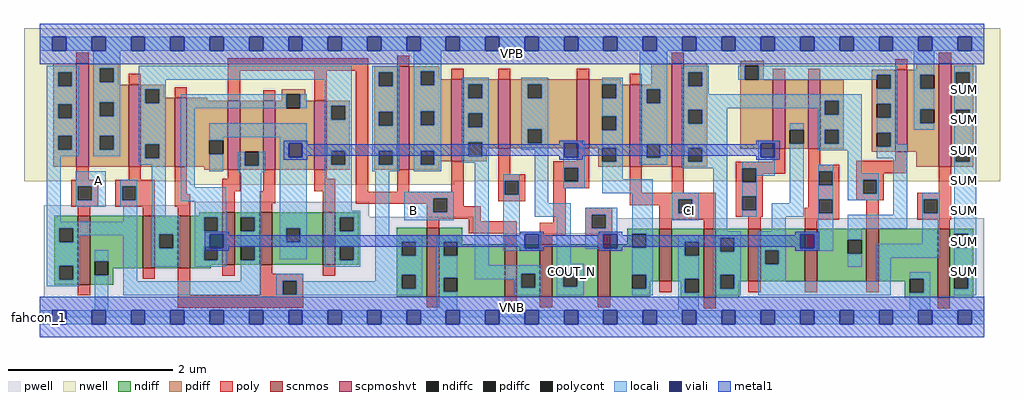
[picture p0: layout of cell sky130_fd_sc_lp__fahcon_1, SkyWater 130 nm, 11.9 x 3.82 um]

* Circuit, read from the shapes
.subckt sky130_fd_sc_lp__fahcon_1 A B CI VGND VNB VPB VPWR COUT_N SUM
XM1 VGND A n1 VNB sky130_fd_pr__nfet_01v8 w=0.84 l=0.15
XM2 n2 n1 VGND VNB sky130_fd_pr__nfet_01v8 w=0.64 l=0.15
XM3 n3 n4 n2 VNB sky130_fd_pr__nfet_01v8 w=0.64 l=0.15
XM4 n1 B n3 VNB sky130_fd_pr__nfet_01v8 w=0.64 l=0.15
XM5 n5 n4 n1 VNB sky130_fd_pr__nfet_01v8 w=0.64 l=0.15
XM6 n2 B n5 VNB sky130_fd_pr__nfet_01v8 w=0.64 l=0.15
XM7 VGND B n4 VNB sky130_fd_pr__nfet_01v8 w=0.84 l=0.15
XM8 n6 B VGND VNB sky130_fd_pr__nfet_01v8 w=0.64 l=0.15
XM9 COUT_N n5 n6 VNB sky130_fd_pr__nfet_01v8 w=0.64 l=0.15
XM10 n7 n3 COUT_N VNB sky130_fd_pr__nfet_01v8 w=0.64 l=0.15
XM11 VGND CI n7 VNB sky130_fd_pr__nfet_01v8 w=0.64 l=0.15
XM12 n8 CI VGND VNB sky130_fd_pr__nfet_01v8 w=0.84 l=0.15
XM13 n9 n5 n8 VNB sky130_fd_pr__nfet_01v8 w=0.64 l=0.15
XM14 n10 n3 n9 VNB sky130_fd_pr__nfet_01v8 w=0.64 l=0.15
XM15 VGND n8 n10 VNB sky130_fd_pr__nfet_01v8 w=0.64 l=0.15
XM16 SUM n9 VGND VNB sky130_fd_pr__nfet_01v8 w=0.84 l=0.15
XM17 VPWR A n1 VPB sky130_fd_pr__pfet_01v8_hvt w=1.26 l=0.15
XM18 n2 n1 VPWR VPB sky130_fd_pr__pfet_01v8_hvt w=1 l=0.15
XM19 n5 n4 n2 VPB sky130_fd_pr__pfet_01v8_hvt w=0.84 l=0.15
XM20 n1 B n5 VPB sky130_fd_pr__pfet_01v8_hvt w=0.84 l=0.15
XM21 n3 n4 n1 VPB sky130_fd_pr__pfet_01v8_hvt w=0.84 l=0.15
XM22 n2 B n3 VPB sky130_fd_pr__pfet_01v8_hvt w=0.84 l=0.15
XM23 VPWR B n4 VPB sky130_fd_pr__pfet_01v8_hvt w=1.26 l=0.15
XM24 n6 B VPWR VPB sky130_fd_pr__pfet_01v8_hvt w=1 l=0.15
XM25 COUT_N n3 n6 VPB sky130_fd_pr__pfet_01v8_hvt w=0.84 l=0.15
XM26 n7 n5 COUT_N VPB sky130_fd_pr__pfet_01v8_hvt w=0.84 l=0.15
XM27 VPWR CI n7 VPB sky130_fd_pr__pfet_01v8_hvt w=1 l=0.15
XM28 n8 CI VPWR VPB sky130_fd_pr__pfet_01v8_hvt w=1.26 l=0.15
XM29 n9 n5 n10 VPB sky130_fd_pr__pfet_01v8_hvt w=0.84 l=0.15
XM30 n8 n3 n9 VPB sky130_fd_pr__pfet_01v8_hvt w=0.84 l=0.15
XM31 VPWR n8 n10 VPB sky130_fd_pr__pfet_01v8_hvt w=1 l=0.15
XM32 SUM n9 VPWR VPB sky130_fd_pr__pfet_01v8_hvt w=1.26 l=0.15
.ends

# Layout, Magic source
magic
tech sky130A
magscale 1 2
<< nwell >>
rect -38 331 2342 704
rect 366 323 1011 331
<< pwell >>
rect 363 273 804 281
rect 10 244 804 273
rect 10 204 1057 244
rect 1407 204 2303 241
rect 10 49 2303 204
rect 0 0 2304 49
<< scnmos >>
rect 93 79 123 247
rect 251 119 281 247
rect 337 119 367 247
rect 446 127 476 255
rect 537 127 567 255
rect 691 127 721 255
rect 944 50 974 218
rect 1134 50 1164 178
rect 1220 50 1250 178
rect 1361 50 1391 178
rect 1511 87 1541 215
rect 1619 47 1649 215
rect 1728 87 1758 215
rect 1866 87 1896 215
rect 2016 87 2046 215
rect 2190 47 2220 215
<< scpmoshvt >>
rect 90 367 120 619
rect 217 367 247 567
rect 329 367 359 535
rect 459 359 489 527
rect 545 359 575 527
rect 670 359 700 527
rect 872 359 902 611
rect 1004 380 1034 580
rect 1118 412 1148 580
rect 1310 412 1340 580
rect 1439 367 1469 567
rect 1541 367 1571 619
rect 1788 411 1818 579
rect 1874 411 1904 579
rect 2086 403 2116 603
rect 2193 367 2223 619
<< ndiff >>
rect 389 247 446 255
rect 36 217 93 247
rect 36 183 48 217
rect 82 183 93 217
rect 36 125 93 183
rect 36 91 48 125
rect 82 91 93 125
rect 36 79 93 91
rect 123 136 251 247
rect 123 102 134 136
rect 168 119 251 136
rect 281 202 337 247
rect 281 168 292 202
rect 326 168 337 202
rect 281 119 337 168
rect 367 243 446 247
rect 367 209 401 243
rect 435 209 446 243
rect 367 173 446 209
rect 367 139 401 173
rect 435 139 446 173
rect 367 127 446 139
rect 476 243 537 255
rect 476 209 491 243
rect 525 209 537 243
rect 476 173 537 209
rect 476 139 491 173
rect 525 139 537 173
rect 476 127 537 139
rect 567 217 691 255
rect 567 183 602 217
rect 636 183 691 217
rect 567 127 691 183
rect 721 243 778 255
rect 721 209 732 243
rect 766 209 778 243
rect 721 173 778 209
rect 721 139 732 173
rect 766 139 778 173
rect 721 127 778 139
rect 871 184 944 218
rect 871 150 883 184
rect 917 150 944 184
rect 367 119 417 127
rect 168 102 180 119
rect 123 79 180 102
rect 871 103 944 150
rect 871 69 883 103
rect 917 69 944 103
rect 871 50 944 69
rect 974 184 1031 218
rect 974 150 985 184
rect 1019 178 1031 184
rect 1433 203 1511 215
rect 1433 178 1445 203
rect 1019 150 1134 178
rect 974 96 1134 150
rect 974 62 985 96
rect 1019 62 1134 96
rect 974 50 1134 62
rect 1164 106 1220 178
rect 1164 72 1175 106
rect 1209 72 1220 106
rect 1164 50 1220 72
rect 1250 108 1361 178
rect 1250 74 1277 108
rect 1311 74 1361 108
rect 1250 50 1361 74
rect 1391 169 1445 178
rect 1479 169 1511 203
rect 1391 103 1511 169
rect 1391 69 1445 103
rect 1479 87 1511 103
rect 1541 184 1619 215
rect 1541 150 1573 184
rect 1607 150 1619 184
rect 1541 93 1619 150
rect 1541 87 1573 93
rect 1479 69 1489 87
rect 1391 50 1489 69
rect 1563 59 1573 87
rect 1607 59 1619 93
rect 1563 47 1619 59
rect 1649 193 1728 215
rect 1649 159 1660 193
rect 1694 159 1728 193
rect 1649 103 1728 159
rect 1649 69 1660 103
rect 1694 87 1728 103
rect 1758 163 1866 215
rect 1758 129 1769 163
rect 1803 129 1866 163
rect 1758 87 1866 129
rect 1896 188 2016 215
rect 1896 154 1971 188
rect 2005 154 2016 188
rect 1896 87 2016 154
rect 2046 93 2190 215
rect 2046 87 2122 93
rect 1694 69 1706 87
rect 1649 47 1706 69
rect 2110 59 2122 87
rect 2156 59 2190 93
rect 2110 47 2190 59
rect 2220 203 2277 215
rect 2220 169 2231 203
rect 2265 169 2277 203
rect 2220 103 2277 169
rect 2220 69 2231 103
rect 2265 69 2277 103
rect 2220 47 2277 69
<< pdiff >>
rect 33 597 90 619
rect 33 563 45 597
rect 79 563 90 597
rect 33 519 90 563
rect 33 485 45 519
rect 79 485 90 519
rect 33 442 90 485
rect 33 408 45 442
rect 79 408 90 442
rect 33 367 90 408
rect 120 607 193 619
rect 120 573 147 607
rect 181 573 193 607
rect 120 567 193 573
rect 120 524 217 567
rect 120 490 147 524
rect 181 490 217 524
rect 120 442 217 490
rect 120 408 147 442
rect 181 408 217 442
rect 120 367 217 408
rect 247 555 304 567
rect 247 521 258 555
rect 292 535 304 555
rect 292 521 329 535
rect 247 421 329 521
rect 247 387 258 421
rect 292 387 329 421
rect 247 367 329 387
rect 359 527 409 535
rect 590 543 648 555
rect 590 527 602 543
rect 359 431 459 527
rect 359 397 414 431
rect 448 397 459 431
rect 359 367 459 397
rect 402 359 459 367
rect 489 403 545 527
rect 489 369 500 403
rect 534 369 545 403
rect 489 359 545 369
rect 575 509 602 527
rect 636 527 648 543
rect 636 509 670 527
rect 575 359 670 509
rect 700 515 756 527
rect 700 481 711 515
rect 745 481 756 515
rect 700 405 756 481
rect 700 371 711 405
rect 745 371 756 405
rect 700 359 756 371
rect 816 597 872 611
rect 816 563 827 597
rect 861 563 872 597
rect 816 501 872 563
rect 816 467 827 501
rect 861 467 872 501
rect 816 405 872 467
rect 816 371 827 405
rect 861 371 872 405
rect 816 359 872 371
rect 902 599 975 611
rect 902 565 929 599
rect 963 580 975 599
rect 963 565 1004 580
rect 902 502 1004 565
rect 902 468 929 502
rect 963 468 1004 502
rect 902 405 1004 468
rect 902 371 929 405
rect 963 380 1004 405
rect 1034 568 1118 580
rect 1034 534 1045 568
rect 1079 534 1118 568
rect 1034 497 1118 534
rect 1034 463 1045 497
rect 1079 463 1118 497
rect 1034 426 1118 463
rect 1034 392 1045 426
rect 1079 412 1118 426
rect 1148 568 1310 580
rect 1148 534 1191 568
rect 1225 534 1310 568
rect 1148 458 1310 534
rect 1148 424 1191 458
rect 1225 424 1310 458
rect 1148 412 1310 424
rect 1340 568 1417 580
rect 1340 534 1372 568
rect 1406 567 1417 568
rect 1491 567 1541 619
rect 1406 534 1439 567
rect 1340 490 1439 534
rect 1340 456 1372 490
rect 1406 456 1439 490
rect 1340 413 1439 456
rect 1340 412 1372 413
rect 1079 392 1091 412
rect 1034 380 1091 392
rect 963 371 975 380
rect 902 359 975 371
rect 1362 379 1372 412
rect 1406 379 1439 413
rect 1362 367 1439 379
rect 1469 555 1541 567
rect 1469 521 1480 555
rect 1514 521 1541 555
rect 1469 422 1541 521
rect 1469 388 1480 422
rect 1514 388 1541 422
rect 1469 367 1541 388
rect 1571 597 1628 619
rect 1571 563 1582 597
rect 1616 563 1628 597
rect 1571 505 1628 563
rect 1571 471 1582 505
rect 1616 471 1628 505
rect 1571 413 1628 471
rect 1571 379 1582 413
rect 1616 379 1628 413
rect 1708 613 1766 625
rect 1708 579 1720 613
rect 1754 579 1766 613
rect 2138 603 2193 619
rect 2029 591 2086 603
rect 1708 411 1788 579
rect 1818 457 1874 579
rect 1818 423 1829 457
rect 1863 423 1874 457
rect 1818 411 1874 423
rect 1904 527 1961 579
rect 1904 493 1915 527
rect 1949 493 1961 527
rect 1904 457 1961 493
rect 1904 423 1915 457
rect 1949 423 1961 457
rect 1904 411 1961 423
rect 2029 557 2041 591
rect 2075 557 2086 591
rect 2029 520 2086 557
rect 2029 486 2041 520
rect 2075 486 2086 520
rect 2029 449 2086 486
rect 2029 415 2041 449
rect 2075 415 2086 449
rect 1571 367 1628 379
rect 2029 403 2086 415
rect 2116 591 2193 603
rect 2116 557 2148 591
rect 2182 557 2193 591
rect 2116 507 2193 557
rect 2116 473 2148 507
rect 2182 473 2193 507
rect 2116 403 2193 473
rect 2138 367 2193 403
rect 2223 597 2277 619
rect 2223 563 2234 597
rect 2268 563 2277 597
rect 2223 505 2277 563
rect 2223 471 2234 505
rect 2268 471 2277 505
rect 2223 413 2277 471
rect 2223 379 2234 413
rect 2268 379 2277 413
rect 2223 367 2277 379
<< ndiffc >>
rect 48 183 82 217
rect 48 91 82 125
rect 134 102 168 136
rect 292 168 326 202
rect 401 209 435 243
rect 401 139 435 173
rect 491 209 525 243
rect 491 139 525 173
rect 602 183 636 217
rect 732 209 766 243
rect 732 139 766 173
rect 883 150 917 184
rect 883 69 917 103
rect 985 150 1019 184
rect 985 62 1019 96
rect 1175 72 1209 106
rect 1277 74 1311 108
rect 1445 169 1479 203
rect 1445 69 1479 103
rect 1573 150 1607 184
rect 1573 59 1607 93
rect 1660 159 1694 193
rect 1660 69 1694 103
rect 1769 129 1803 163
rect 1971 154 2005 188
rect 2122 59 2156 93
rect 2231 169 2265 203
rect 2231 69 2265 103
<< pdiffc >>
rect 45 563 79 597
rect 45 485 79 519
rect 45 408 79 442
rect 147 573 181 607
rect 147 490 181 524
rect 147 408 181 442
rect 258 521 292 555
rect 258 387 292 421
rect 414 397 448 431
rect 500 369 534 403
rect 602 509 636 543
rect 711 481 745 515
rect 711 371 745 405
rect 827 563 861 597
rect 827 467 861 501
rect 827 371 861 405
rect 929 565 963 599
rect 929 468 963 502
rect 929 371 963 405
rect 1045 534 1079 568
rect 1045 463 1079 497
rect 1045 392 1079 426
rect 1191 534 1225 568
rect 1191 424 1225 458
rect 1372 534 1406 568
rect 1372 456 1406 490
rect 1372 379 1406 413
rect 1480 521 1514 555
rect 1480 388 1514 422
rect 1582 563 1616 597
rect 1582 471 1616 505
rect 1582 379 1616 413
rect 1720 579 1754 613
rect 1829 423 1863 457
rect 1915 493 1949 527
rect 1915 423 1949 457
rect 2041 557 2075 591
rect 2041 486 2075 520
rect 2041 415 2075 449
rect 2148 557 2182 591
rect 2148 473 2182 507
rect 2234 563 2268 597
rect 2234 471 2268 505
rect 2234 379 2268 413
<< poly >>
rect 90 619 120 645
rect 459 601 801 631
rect 872 611 902 637
rect 1541 619 1571 645
rect 217 567 247 593
rect 329 535 359 561
rect 459 527 489 601
rect 545 527 575 553
rect 90 335 120 367
rect 217 335 247 367
rect 77 319 143 335
rect 77 285 93 319
rect 127 285 143 319
rect 77 269 143 285
rect 185 319 281 335
rect 185 285 201 319
rect 235 285 281 319
rect 185 269 281 285
rect 329 299 359 367
rect 670 527 700 601
rect 459 337 489 359
rect 446 307 489 337
rect 545 307 575 359
rect 670 337 700 359
rect 670 307 721 337
rect 329 269 367 299
rect 93 247 123 269
rect 251 247 281 269
rect 337 247 367 269
rect 446 255 476 307
rect 537 277 575 307
rect 537 255 567 277
rect 691 255 721 307
rect 771 306 801 601
rect 1004 580 1034 606
rect 1118 580 1148 606
rect 1310 580 1340 606
rect 1439 567 1469 593
rect 872 306 902 359
rect 1004 306 1034 380
rect 771 290 1034 306
rect 771 276 960 290
rect 944 256 960 276
rect 994 270 1034 290
rect 1118 348 1148 412
rect 1310 380 1340 412
rect 1253 364 1340 380
rect 1788 579 1818 605
rect 1874 579 1904 605
rect 2086 603 2116 629
rect 2193 619 2223 645
rect 1788 379 1818 411
rect 1118 332 1184 348
rect 1118 298 1134 332
rect 1168 298 1184 332
rect 1118 282 1184 298
rect 1253 330 1280 364
rect 1314 330 1340 364
rect 1253 314 1340 330
rect 994 256 1076 270
rect 944 240 1076 256
rect 944 218 974 240
rect 1046 234 1076 240
rect 251 93 281 119
rect 93 53 123 79
rect 337 53 367 119
rect 446 101 476 127
rect 537 105 567 127
rect 537 89 643 105
rect 691 101 721 127
rect 537 55 593 89
rect 627 55 643 89
rect 537 53 643 55
rect 337 23 643 53
rect 1046 204 1164 234
rect 1253 230 1283 314
rect 1439 303 1469 367
rect 1541 303 1571 367
rect 1698 363 1818 379
rect 1698 329 1714 363
rect 1748 349 1818 363
rect 1874 371 1904 411
rect 2086 381 2116 403
rect 1874 355 1950 371
rect 1748 329 1764 349
rect 1439 287 1649 303
rect 1439 273 1557 287
rect 1134 178 1164 204
rect 1220 200 1283 230
rect 1331 250 1397 266
rect 1331 216 1347 250
rect 1381 216 1397 250
rect 1331 200 1397 216
rect 1511 253 1557 273
rect 1591 253 1649 287
rect 1511 237 1649 253
rect 1698 295 1764 329
rect 1698 261 1714 295
rect 1748 261 1764 295
rect 1874 321 1900 355
rect 1934 321 1950 355
rect 1874 287 1950 321
rect 1874 267 1900 287
rect 1698 245 1764 261
rect 1866 253 1900 267
rect 1934 253 1950 287
rect 1992 351 2116 381
rect 1992 335 2058 351
rect 1992 301 2008 335
rect 2042 301 2058 335
rect 2193 303 2223 367
rect 1992 285 2058 301
rect 2140 287 2223 303
rect 1511 215 1541 237
rect 1619 215 1649 237
rect 1728 215 1758 245
rect 1866 237 1950 253
rect 1866 215 1896 237
rect 2016 215 2046 285
rect 2140 253 2156 287
rect 2190 253 2223 287
rect 2140 237 2223 253
rect 2190 215 2220 237
rect 1220 178 1250 200
rect 1361 178 1391 200
rect 1511 61 1541 87
rect 944 24 974 50
rect 1134 24 1164 50
rect 1220 24 1250 50
rect 1361 24 1391 50
rect 1728 61 1758 87
rect 1866 61 1896 87
rect 2016 61 2046 87
rect 1619 21 1649 47
rect 2190 21 2220 47
<< polycont >>
rect 93 285 127 319
rect 201 285 235 319
rect 960 256 994 290
rect 1134 298 1168 332
rect 1280 330 1314 364
rect 593 55 627 89
rect 1714 329 1748 363
rect 1347 216 1381 250
rect 1557 253 1591 287
rect 1714 261 1748 295
rect 1900 321 1934 355
rect 1900 253 1934 287
rect 2008 301 2042 335
rect 2156 253 2190 287
<< locali >>
rect 0 649 31 683
rect 65 649 127 683
rect 161 649 223 683
rect 257 649 319 683
rect 353 649 415 683
rect 449 649 511 683
rect 545 649 607 683
rect 641 649 703 683
rect 737 649 799 683
rect 833 649 895 683
rect 929 649 991 683
rect 1025 649 1087 683
rect 1121 649 1183 683
rect 1217 649 1279 683
rect 1313 649 1375 683
rect 1409 649 1471 683
rect 1505 649 1567 683
rect 1601 649 1663 683
rect 1697 649 1759 683
rect 1793 649 1855 683
rect 1889 649 1951 683
rect 1985 649 2047 683
rect 2081 649 2143 683
rect 2177 649 2239 683
rect 2273 649 2304 683
rect 18 597 95 613
rect 18 563 45 597
rect 79 563 95 597
rect 18 519 95 563
rect 18 485 45 519
rect 79 485 95 519
rect 18 442 95 485
rect 18 408 45 442
rect 79 408 95 442
rect 18 392 95 408
rect 131 607 197 649
rect 131 573 147 607
rect 181 573 197 607
rect 131 524 197 573
rect 131 490 147 524
rect 181 490 197 524
rect 131 442 197 490
rect 131 408 147 442
rect 181 408 197 442
rect 131 392 197 408
rect 242 579 761 613
rect 242 555 308 579
rect 242 521 258 555
rect 292 521 308 555
rect 242 421 308 521
rect 18 233 52 392
rect 242 387 258 421
rect 292 387 308 421
rect 242 371 308 387
rect 88 319 161 356
rect 88 285 93 319
rect 127 285 161 319
rect 88 269 161 285
rect 197 319 238 335
rect 197 285 201 319
rect 235 285 238 319
rect 197 269 238 285
rect 204 233 238 269
rect 18 217 238 233
rect 18 183 48 217
rect 82 199 238 217
rect 82 183 98 199
rect 18 125 98 183
rect 18 91 48 125
rect 82 91 98 125
rect 18 75 98 91
rect 134 136 168 163
rect 134 17 168 102
rect 204 87 238 199
rect 274 247 308 371
rect 344 509 602 543
rect 636 509 652 543
rect 695 515 761 579
rect 344 317 378 509
rect 695 481 711 515
rect 745 481 761 515
rect 414 439 652 473
rect 414 431 448 439
rect 586 424 652 439
rect 414 355 448 397
rect 484 369 500 403
rect 534 369 550 403
rect 484 353 550 369
rect 586 390 607 424
rect 641 390 652 424
rect 344 283 455 317
rect 274 202 342 247
rect 274 168 292 202
rect 326 168 342 202
rect 274 123 342 168
rect 378 243 455 283
rect 378 209 401 243
rect 435 209 455 243
rect 378 202 455 209
rect 378 173 415 202
rect 378 139 401 173
rect 449 168 455 202
rect 435 139 455 168
rect 378 123 455 139
rect 491 243 541 353
rect 525 209 541 243
rect 491 173 541 209
rect 525 139 541 173
rect 586 217 652 390
rect 586 183 602 217
rect 636 183 652 217
rect 586 141 652 183
rect 695 405 761 481
rect 695 371 711 405
rect 745 371 761 405
rect 695 259 761 371
rect 811 597 877 613
rect 811 563 827 597
rect 861 563 877 597
rect 811 501 877 563
rect 811 467 827 501
rect 861 467 877 501
rect 811 405 877 467
rect 811 371 827 405
rect 861 371 877 405
rect 811 355 877 371
rect 913 599 979 649
rect 913 565 929 599
rect 963 565 979 599
rect 913 502 979 565
rect 913 468 929 502
rect 963 468 979 502
rect 913 405 979 468
rect 913 371 929 405
rect 963 371 979 405
rect 1029 568 1095 584
rect 1029 534 1045 568
rect 1079 534 1095 568
rect 1029 497 1095 534
rect 1029 463 1045 497
rect 1079 463 1095 497
rect 1029 426 1095 463
rect 1029 392 1045 426
rect 1079 392 1095 426
rect 1175 568 1241 584
rect 1175 534 1191 568
rect 1225 534 1241 568
rect 1175 458 1241 534
rect 1175 424 1191 458
rect 1225 424 1241 458
rect 1372 568 1422 584
rect 1406 534 1422 568
rect 1372 490 1422 534
rect 1406 456 1422 490
rect 1175 408 1241 424
rect 1029 376 1095 392
rect 913 355 979 371
rect 695 243 782 259
rect 695 209 732 243
rect 766 209 782 243
rect 695 173 782 209
rect 491 87 541 139
rect 695 139 732 173
rect 766 139 782 173
rect 695 123 782 139
rect 819 200 853 355
rect 889 290 1010 306
rect 889 256 960 290
rect 994 256 1010 290
rect 889 236 1010 256
rect 819 184 933 200
rect 819 150 883 184
rect 917 150 933 184
rect 204 53 541 87
rect 577 89 643 105
rect 577 55 593 89
rect 627 87 643 89
rect 819 103 933 150
rect 819 87 883 103
rect 627 69 883 87
rect 917 69 933 103
rect 627 55 933 69
rect 577 53 933 55
rect 969 184 1019 200
rect 969 150 985 184
rect 969 96 1019 150
rect 969 62 985 96
rect 1061 126 1095 376
rect 1131 332 1171 348
rect 1131 298 1134 332
rect 1168 298 1171 332
rect 1131 208 1171 298
rect 1207 278 1241 408
rect 1277 424 1330 430
rect 1277 390 1279 424
rect 1313 390 1330 424
rect 1277 364 1330 390
rect 1277 330 1280 364
rect 1314 330 1330 364
rect 1277 314 1330 330
rect 1372 413 1422 456
rect 1406 379 1422 413
rect 1372 336 1422 379
rect 1464 555 1530 649
rect 1464 521 1480 555
rect 1514 521 1530 555
rect 1464 422 1530 521
rect 1464 388 1480 422
rect 1514 388 1530 422
rect 1464 372 1530 388
rect 1566 597 1632 613
rect 1566 563 1582 597
rect 1616 563 1632 597
rect 1704 579 1720 613
rect 1754 591 2091 613
rect 1754 579 2041 591
rect 1566 543 1632 563
rect 2075 557 2091 591
rect 1566 527 2005 543
rect 1566 509 1915 527
rect 1566 505 1677 509
rect 1566 471 1582 505
rect 1616 471 1677 505
rect 1899 493 1915 509
rect 1949 493 2005 527
rect 1566 413 1677 471
rect 1829 457 1863 473
rect 1566 379 1582 413
rect 1616 379 1677 413
rect 1753 424 1793 430
rect 1753 390 1759 424
rect 1753 379 1793 390
rect 1566 363 1677 379
rect 1372 302 1495 336
rect 1207 244 1295 278
rect 1131 202 1223 208
rect 1131 168 1183 202
rect 1217 168 1223 202
rect 1131 162 1223 168
rect 1261 130 1295 244
rect 1331 250 1409 266
rect 1331 216 1347 250
rect 1381 216 1409 250
rect 1331 202 1409 216
rect 1331 168 1375 202
rect 1331 166 1409 168
rect 1445 203 1495 302
rect 1541 287 1607 303
rect 1541 253 1557 287
rect 1591 253 1607 287
rect 1541 236 1607 253
rect 1479 169 1495 203
rect 1643 209 1677 363
rect 1713 363 1793 379
rect 1713 329 1714 363
rect 1748 345 1793 363
rect 1748 329 1749 345
rect 1713 295 1749 329
rect 1713 261 1714 295
rect 1748 261 1749 295
rect 1829 278 1863 423
rect 1899 457 2005 493
rect 1899 423 1915 457
rect 1949 423 2005 457
rect 1899 407 2005 423
rect 1713 245 1749 261
rect 1785 244 1863 278
rect 1899 355 1935 371
rect 1899 321 1900 355
rect 1934 321 1935 355
rect 1899 287 1935 321
rect 1899 253 1900 287
rect 1934 253 1935 287
rect 1971 351 2005 407
rect 2041 520 2091 557
rect 2075 486 2091 520
rect 2041 449 2091 486
rect 2132 591 2182 649
rect 2132 557 2148 591
rect 2132 507 2182 557
rect 2132 473 2148 507
rect 2132 457 2182 473
rect 2231 597 2284 613
rect 2231 563 2234 597
rect 2268 563 2284 597
rect 2231 505 2284 563
rect 2231 471 2234 505
rect 2268 471 2284 505
rect 2075 421 2091 449
rect 2075 415 2116 421
rect 2041 387 2116 415
rect 1971 335 2046 351
rect 1971 301 2008 335
rect 2042 301 2046 335
rect 1971 285 2046 301
rect 1785 209 1819 244
rect 1061 106 1225 126
rect 1061 92 1175 106
rect 969 17 1019 62
rect 1159 72 1175 92
rect 1209 72 1225 106
rect 1159 53 1225 72
rect 1261 108 1327 130
rect 1261 74 1277 108
rect 1311 74 1327 108
rect 1261 53 1327 74
rect 1445 103 1495 169
rect 1479 69 1495 103
rect 1445 53 1495 69
rect 1557 184 1607 200
rect 1557 150 1573 184
rect 1557 93 1607 150
rect 1557 59 1573 93
rect 1557 17 1607 59
rect 1643 193 1710 209
rect 1643 159 1660 193
rect 1694 159 1710 193
rect 1643 103 1710 159
rect 1643 69 1660 103
rect 1694 69 1710 103
rect 1643 53 1710 69
rect 1753 163 1819 209
rect 1899 208 1935 253
rect 2082 249 2116 387
rect 2231 413 2284 471
rect 2231 379 2234 413
rect 2268 379 2284 413
rect 1753 129 1769 163
rect 1803 129 1819 163
rect 1855 202 1935 208
rect 1889 168 1935 202
rect 1855 162 1935 168
rect 1971 215 2116 249
rect 2152 287 2195 303
rect 2152 253 2156 287
rect 2190 253 2195 287
rect 1971 188 2005 215
rect 1753 87 1819 129
rect 2152 179 2195 253
rect 1971 123 2005 154
rect 2041 145 2195 179
rect 2231 203 2284 379
rect 2265 169 2284 203
rect 2041 87 2075 145
rect 1753 53 2075 87
rect 2122 93 2172 109
rect 2156 59 2172 93
rect 2122 17 2172 59
rect 2231 103 2284 169
rect 2265 69 2284 103
rect 2231 53 2284 69
rect 0 -17 31 17
rect 65 -17 127 17
rect 161 -17 223 17
rect 257 -17 319 17
rect 353 -17 415 17
rect 449 -17 511 17
rect 545 -17 607 17
rect 641 -17 703 17
rect 737 -17 799 17
rect 833 -17 895 17
rect 929 -17 991 17
rect 1025 -17 1087 17
rect 1121 -17 1183 17
rect 1217 -17 1279 17
rect 1313 -17 1375 17
rect 1409 -17 1471 17
rect 1505 -17 1567 17
rect 1601 -17 1663 17
rect 1697 -17 1759 17
rect 1793 -17 1855 17
rect 1889 -17 1951 17
rect 1985 -17 2047 17
rect 2081 -17 2143 17
rect 2177 -17 2239 17
rect 2273 -17 2304 17
<< viali >>
rect 31 649 65 683
rect 127 649 161 683
rect 223 649 257 683
rect 319 649 353 683
rect 415 649 449 683
rect 511 649 545 683
rect 607 649 641 683
rect 703 649 737 683
rect 799 649 833 683
rect 895 649 929 683
rect 991 649 1025 683
rect 1087 649 1121 683
rect 1183 649 1217 683
rect 1279 649 1313 683
rect 1375 649 1409 683
rect 1471 649 1505 683
rect 1567 649 1601 683
rect 1663 649 1697 683
rect 1759 649 1793 683
rect 1855 649 1889 683
rect 1951 649 1985 683
rect 2047 649 2081 683
rect 2143 649 2177 683
rect 2239 649 2273 683
rect 607 390 641 424
rect 415 173 449 202
rect 415 168 435 173
rect 435 168 449 173
rect 1279 390 1313 424
rect 1759 390 1793 424
rect 1183 168 1217 202
rect 1375 168 1409 202
rect 1855 168 1889 202
rect 31 -17 65 17
rect 127 -17 161 17
rect 223 -17 257 17
rect 319 -17 353 17
rect 415 -17 449 17
rect 511 -17 545 17
rect 607 -17 641 17
rect 703 -17 737 17
rect 799 -17 833 17
rect 895 -17 929 17
rect 991 -17 1025 17
rect 1087 -17 1121 17
rect 1183 -17 1217 17
rect 1279 -17 1313 17
rect 1375 -17 1409 17
rect 1471 -17 1505 17
rect 1567 -17 1601 17
rect 1663 -17 1697 17
rect 1759 -17 1793 17
rect 1855 -17 1889 17
rect 1951 -17 1985 17
rect 2047 -17 2081 17
rect 2143 -17 2177 17
rect 2239 -17 2273 17
<< metal1 >>
rect 0 683 2304 715
rect 0 649 31 683
rect 65 649 127 683
rect 161 649 223 683
rect 257 649 319 683
rect 353 649 415 683
rect 449 649 511 683
rect 545 649 607 683
rect 641 649 703 683
rect 737 649 799 683
rect 833 649 895 683
rect 929 649 991 683
rect 1025 649 1087 683
rect 1121 649 1183 683
rect 1217 649 1279 683
rect 1313 649 1375 683
rect 1409 649 1471 683
rect 1505 649 1567 683
rect 1601 649 1663 683
rect 1697 649 1759 683
rect 1793 649 1855 683
rect 1889 649 1951 683
rect 1985 649 2047 683
rect 2081 649 2143 683
rect 2177 649 2239 683
rect 2273 649 2304 683
rect 0 617 2304 649
rect 595 424 653 430
rect 595 390 607 424
rect 641 421 653 424
rect 1267 424 1325 430
rect 1267 421 1279 424
rect 641 393 1279 421
rect 641 390 653 393
rect 595 384 653 390
rect 1267 390 1279 393
rect 1313 421 1325 424
rect 1747 424 1805 430
rect 1747 421 1759 424
rect 1313 393 1759 421
rect 1313 390 1325 393
rect 1267 384 1325 390
rect 1747 390 1759 393
rect 1793 390 1805 424
rect 1747 384 1805 390
rect 403 202 461 208
rect 403 168 415 202
rect 449 199 461 202
rect 1171 202 1229 208
rect 1171 199 1183 202
rect 449 171 1183 199
rect 449 168 461 171
rect 403 162 461 168
rect 1171 168 1183 171
rect 1217 199 1229 202
rect 1363 202 1421 208
rect 1363 199 1375 202
rect 1217 171 1375 199
rect 1217 168 1229 171
rect 1171 162 1229 168
rect 1363 168 1375 171
rect 1409 199 1421 202
rect 1843 202 1901 208
rect 1843 199 1855 202
rect 1409 171 1855 199
rect 1409 168 1421 171
rect 1363 162 1421 168
rect 1843 168 1855 171
rect 1889 168 1901 202
rect 1843 162 1901 168
rect 0 17 2304 49
rect 0 -17 31 17
rect 65 -17 127 17
rect 161 -17 223 17
rect 257 -17 319 17
rect 353 -17 415 17
rect 449 -17 511 17
rect 545 -17 607 17
rect 641 -17 703 17
rect 737 -17 799 17
rect 833 -17 895 17
rect 929 -17 991 17
rect 1025 -17 1087 17
rect 1121 -17 1183 17
rect 1217 -17 1279 17
rect 1313 -17 1375 17
rect 1409 -17 1471 17
rect 1505 -17 1567 17
rect 1601 -17 1663 17
rect 1697 -17 1759 17
rect 1793 -17 1855 17
rect 1889 -17 1951 17
rect 1985 -17 2047 17
rect 2081 -17 2143 17
rect 2177 -17 2239 17
rect 2273 -17 2304 17
rect 0 -49 2304 -17
<< labels >>
flabel pwell s 0 0 2304 49 0 FreeSans 200 0 0 0 VNB
port 5 nsew ground bidirectional
flabel nwell s 0 617 2304 666 0 FreeSans 200 0 0 0 VPB
port 6 nsew power bidirectional
rlabel comment s 0 0 0 0 4 fahcon_1
flabel metal1 s 0 617 2304 666 0 FreeSans 340 0 0 0 VPWR
port 7 nsew power bidirectional
flabel metal1 s 0 0 2304 49 0 FreeSans 340 0 0 0 VGND
port 4 nsew ground bidirectional
flabel locali s 2239 94 2273 128 0 FreeSans 340 0 0 0 SUM
port 9 nsew signal output
flabel locali s 2239 168 2273 202 0 FreeSans 340 0 0 0 SUM
port 9 nsew signal output
flabel locali s 2239 242 2273 276 0 FreeSans 340 0 0 0 SUM
port 9 nsew signal output
flabel locali s 2239 316 2273 350 0 FreeSans 340 0 0 0 SUM
port 9 nsew signal output
flabel locali s 2239 390 2273 424 0 FreeSans 340 0 0 0 SUM
port 9 nsew signal output
flabel locali s 2239 464 2273 498 0 FreeSans 340 0 0 0 SUM
port 9 nsew signal output
flabel locali s 2239 538 2273 572 0 FreeSans 340 0 0 0 SUM
port 9 nsew signal output
flabel locali s 1279 94 1313 128 0 FreeSans 340 0 0 0 COUT_N
port 8 nsew signal output
flabel locali s 127 316 161 350 0 FreeSans 340 0 0 0 A
port 1 nsew signal input
flabel locali s 895 242 929 276 0 FreeSans 340 0 0 0 B
port 2 nsew signal input
flabel locali s 1567 242 1601 276 0 FreeSans 340 0 0 0 CI
port 3 nsew signal input
<< properties >>
string LEFsite unit
string LEFclass CORE
string FIXED_BBOX 0 0 2304 666
string GDS_FILE $PDKPATH/libs.ref/sky130_fd_sc_lp/gds/sky130_fd_sc_lp.gds
string LEFsymmetry X Y R90
string GDS_END 6936476
string GDS_START 6918530
<< end >>
